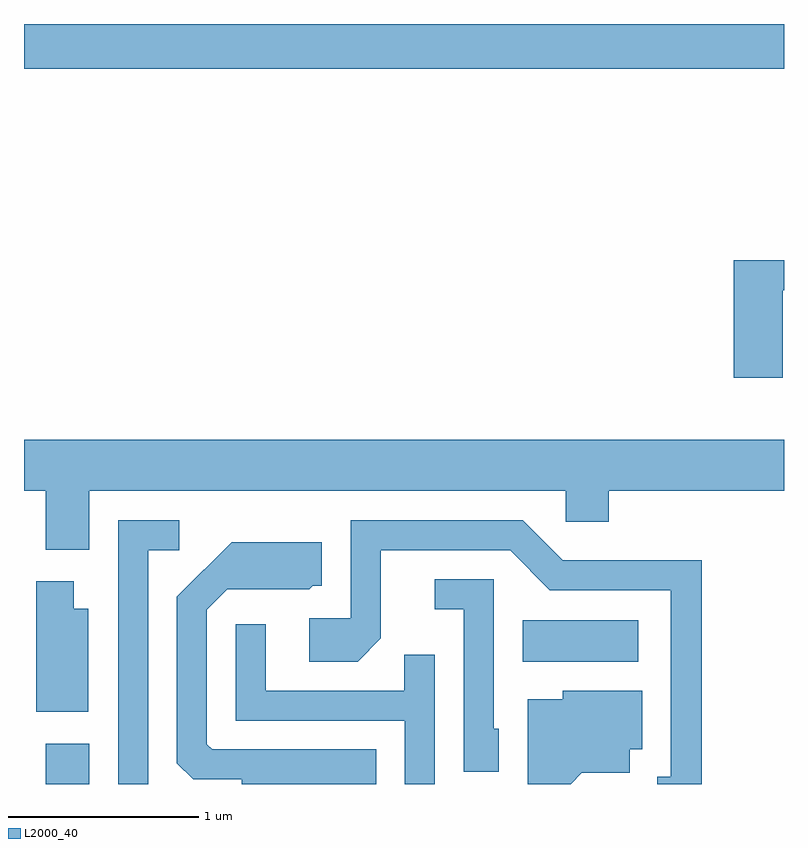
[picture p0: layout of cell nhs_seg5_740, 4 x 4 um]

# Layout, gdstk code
import gdstk
lib = gdstk.Library(unit=1e-6, precision=1e-09)
def R(c, l, rs):  # rectangles x0, y0, x1, y1
    for r in rs: c.add(gdstk.rectangle(r[:2], r[2:], *l))
def P(c, l, *ps):  # polygons
    for p in ps: c.add(gdstk.Polygon(p, *l))
L2000_40 = (2000, 40)

nhs_seg5_740 = lib.new_cell('nhs_seg5_740')
R(nhs_seg5_740, L2000_40, [(205.726,1524.072,205.954,1524.284), (208.236,1524.716,208.844,1524.934), (205.611,1527.836,209.611,1528.072)])
P(nhs_seg5_740, L2000_40, [(209.604,1526.671),(209.611,1526.671),(209.611,1526.829),(209.346,1526.829),(209.346,1526.211),(209.604,1526.211)],
  [(205.954,1525.616),(208.461,1525.616),(208.461,1525.451),(208.689,1525.451),(208.689,1525.616),(209.611,1525.616),(209.611,1525.884),(205.611,1525.884),(205.611,1525.616),(205.726,1525.616),(205.726,1525.306),(205.954,1525.306)],
  [(209.179,1525.249),(208.447,1525.249),(208.237,1525.459),(207.331,1525.459),(207.331,1524.944),(207.111,1524.944),(207.111,1524.716),(207.367,1524.716),(207.489,1524.839),(207.489,1525.301),(208.169,1525.301),(208.379,1525.091),(209.016,1525.091),(209.016,1524.109),(208.943,1524.109),(208.943,1524.072),(209.179,1524.072)],
  [(206.264,1525.301),(206.428,1525.301),(206.428,1525.459),(206.106,1525.459),(206.106,1524.072),(206.264,1524.072)],
  [(207.464,1524.254),(206.602,1524.254),(206.574,1524.282),(206.574,1524.989),(206.682,1525.096),(207.112,1525.096),(207.132,1525.116),(207.179,1525.116),(207.179,1525.344),(206.704,1525.344),(206.416,1525.057),(206.416,1524.182),(206.502,1524.096),(206.756,1524.096),(206.756,1524.072),(207.464,1524.072)],
  [(208.109,1524.364),(208.084,1524.364),(208.084,1525.149),(207.773,1525.149),(207.773,1524.991),(207.926,1524.991),(207.926,1524.136),(208.109,1524.136)],
  [(205.949,1524.994),(205.874,1524.994),(205.874,1525.139),(205.676,1525.139),(205.676,1524.451),(205.949,1524.451)],
  [(207.774,1524.753),(207.611,1524.753),(207.611,1524.564),(206.884,1524.564),(206.884,1524.913),(206.726,1524.913),(206.726,1524.406),(207.616,1524.406),(207.616,1524.072),(207.774,1524.072)],
  [(208.547,1524.131),(208.799,1524.131),(208.799,1524.256),(208.864,1524.256),(208.864,1524.564),(208.446,1524.564),(208.446,1524.519),(208.261,1524.519),(208.261,1524.072),(208.488,1524.072)])

lib.write_gds('nhs_seg5_740.gds')
